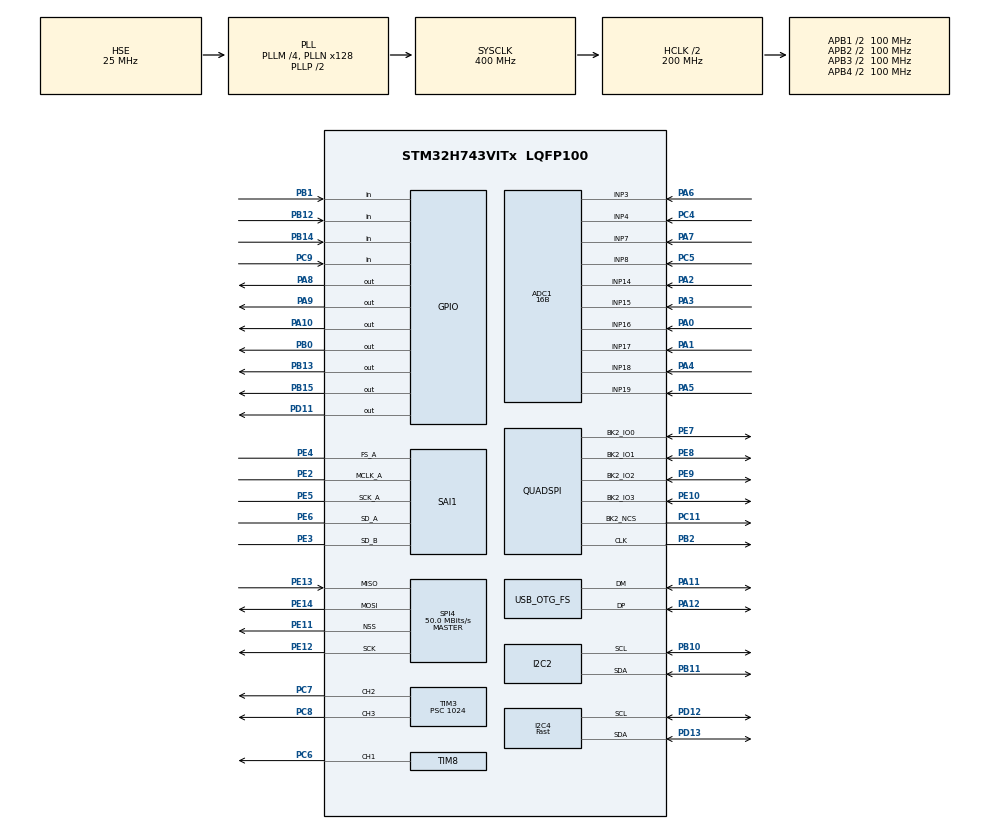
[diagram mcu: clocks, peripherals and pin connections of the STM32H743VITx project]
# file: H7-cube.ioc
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ADC1.BoostMode=ENABLE
ADC1.Channel-0\#ChannelRegularConversion=ADC_CHANNEL_16
ADC1.Channel-1\#ChannelRegularConversion=ADC_CHANNEL_17
ADC1.Channel-2\#ChannelRegularConversion=ADC_CHANNEL_18
ADC1.Channel-3\#ChannelRegularConversion=ADC_CHANNEL_3
ADC1.Channel-4\#ChannelRegularConversion=ADC_CHANNEL_4
ADC1.ClockPrescaler=ADC_CLOCK_ASYNC_DIV2
ADC1.ContinuousConvMode=ENABLE
ADC1.ConversionDataManagement=ADC_CONVERSIONDATA_DMA_CIRCULAR
ADC1.DMAContinuousRequests=ENABLE
ADC1.DiscontinuousConvMode=DISABLE
ADC1.EOCSelection=ADC_EOC_SINGLE_CONV
ADC1.EnableAnalogWatchDog1=false
ADC1.EnableAnalogWatchDog2=false
ADC1.EnableAnalogWatchDog3=false
ADC1.EnableInjectedConversion=DISABLE
ADC1.EnableRegularConversion=ENABLE
ADC1.ExternalTrigConv=ADC_SOFTWARE_START
ADC1.ExternalTrigConvEdge=ADC_EXTERNALTRIGCONVEDGE_NONE
ADC1.LeftBitShift=ADC_LEFTBITSHIFT_NONE
ADC1.LowPowerAutoWait=DISABLE
ADC1.NbrOfConversion=5
ADC1.NbrOfConversionFlag=1
ADC1.OffsetNumber-0\#ChannelRegularConversion=ADC_OFFSET_NONE
ADC1.OffsetNumber-1\#ChannelRegularConversion=ADC_OFFSET_NONE
ADC1.OffsetNumber-2\#ChannelRegularConversion=ADC_OFFSET_NONE
ADC1.OffsetNumber-3\#ChannelRegularConversion=ADC_OFFSET_NONE
ADC1.OffsetNumber-4\#ChannelRegularConversion=ADC_OFFSET_NONE
ADC1.Overrun=ADC_OVR_DATA_PRESERVED
ADC1.OversamplingMode=DISABLE
ADC1.Rank-0\#ChannelRegularConversion=1
ADC1.Rank-1\#ChannelRegularConversion=2
ADC1.Rank-2\#ChannelRegularConversion=3
ADC1.Rank-3\#ChannelRegularConversion=4
ADC1.Rank-4\#ChannelRegularConversion=5
ADC1.Resolution=ADC_RESOLUTION_16B
ADC1.SamplingTime-0\#ChannelRegularConversion=ADC_SAMPLETIME_387CYCLES_5
ADC1.SamplingTime-1\#ChannelRegularConversion=ADC_SAMPLETIME_387CYCLES_5
ADC1.SamplingTime-2\#ChannelRegularConversion=ADC_SAMPLETIME_387CYCLES_5
ADC1.SamplingTime-3\#ChannelRegularConversion=ADC_SAMPLETIME_387CYCLES_5
ADC1.SamplingTime-4\#ChannelRegularConversion=ADC_SAMPLETIME_387CYCLES_5
ADC1.ScanConvMode=ADC_SCAN_ENABLE
ADC1.master=1
Bdma.I2C4_RX.0.Direction=DMA_PERIPH_TO_MEMORY
Bdma.I2C4_RX.0.EventEnable=DISABLE
Bdma.I2C4_RX.0.Instance=BDMA_Channel0
Bdma.I2C4_RX.0.MemDataAlignment=DMA_MDATAALIGN_BYTE
Bdma.I2C4_RX.0.MemInc=DMA_MINC_ENABLE
Bdma.I2C4_RX.0.Mode=DMA_NORMAL
Bdma.I2C4_RX.0.PeriphDataAlignment=DMA_PDATAALIGN_BYTE
Bdma.I2C4_RX.0.PeriphInc=DMA_PINC_DISABLE
Bdma.I2C4_RX.0.Polarity=HAL_DMAMUX_REQ_GEN_RISING
Bdma.I2C4_RX.0.Priority=DMA_PRIORITY_LOW
Bdma.I2C4_RX.0.RequestNumber=1
Bdma.I2C4_RX.0.SignalID=HAL_DMAMUX2_REQ_GEN_I2C4_WKUP
Bdma.I2C4_RX.0.SyncEnable=DISABLE
Bdma.I2C4_RX.0.SyncPolarity=HAL_DMAMUX_SYNC_NO_EVENT
Bdma.I2C4_RX.0.SyncRequestNumber=1
Bdma.I2C4_RX.0.SyncSignalID=HAL_DMAMUX2_SYNC_I2C4_WKUP
Bdma.I2C4_TX.1.Direction=DMA_MEMORY_TO_PERIPH
Bdma.I2C4_TX.1.EventEnable=DISABLE
Bdma.I2C4_TX.1.Instance=BDMA_Channel1
Bdma.I2C4_TX.1.MemDataAlignment=DMA_MDATAALIGN_BYTE
Bdma.I2C4_TX.1.MemInc=DMA_MINC_ENABLE
Bdma.I2C4_TX.1.Mode=DMA_NORMAL
Bdma.I2C4_TX.1.PeriphDataAlignment=DMA_PDATAALIGN_BYTE
Bdma.I2C4_TX.1.PeriphInc=DMA_PINC_DISABLE
Bdma.I2C4_TX.1.Polarity=HAL_DMAMUX_REQ_GEN_RISING
Bdma.I2C4_TX.1.Priority=DMA_PRIORITY_LOW
Bdma.I2C4_TX.1.RequestNumber=1
Bdma.I2C4_TX.1.SignalID=HAL_DMAMUX2_REQ_GEN_I2C4_WKUP
Bdma.I2C4_TX.1.SyncEnable=DISABLE
Bdma.I2C4_TX.1.SyncPolarity=HAL_DMAMUX_SYNC_NO_EVENT
Bdma.I2C4_TX.1.SyncRequestNumber=1
Bdma.I2C4_TX.1.SyncSignalID=HAL_DMAMUX2_SYNC_I2C4_WKUP
Bdma.Request0=I2C4_RX
Bdma.Request1=I2C4_TX
Bdma.RequestsNb=2
CORTEX_M7.CPU_DCache=Enabled
CORTEX_M7.CPU_ICache=Enabled
Dma.ADC1.0.Direction=DMA_PERIPH_TO_MEMORY
Dma.ADC1.0.EventEnable=DISABLE
Dma.ADC1.0.FIFOMode=DMA_FIFOMODE_ENABLE
Dma.ADC1.0.FIFOThreshold=DMA_FIFO_THRESHOLD_FULL
Dma.ADC1.0.Instance=DMA1_Stream2
Dma.ADC1.0.MemBurst=DMA_MBURST_SINGLE
Dma.ADC1.0.MemDataAlignment=DMA_MDATAALIGN_HALFWORD
Dma.ADC1.0.MemInc=DMA_MINC_ENABLE
Dma.ADC1.0.Mode=DMA_CIRCULAR
Dma.ADC1.0.PeriphBurst=DMA_PBURST_SINGLE
Dma.ADC1.0.PeriphDataAlignment=DMA_PDATAALIGN_HALFWORD
Dma.ADC1.0.PeriphInc=DMA_PINC_DISABLE
Dma.ADC1.0.Polarity=HAL_DMAMUX_REQ_GEN_RISING
Dma.ADC1.0.Priority=DMA_PRIORITY_MEDIUM
Dma.ADC1.0.RequestNumber=1
Dma.ADC1.0.SyncEnable=DISABLE
Dma.ADC1.0.SyncPolarity=HAL_DMAMUX_SYNC_NO_EVENT
Dma.ADC1.0.SyncRequestNumber=1
Dma.Request0=ADC1
Dma.Request1=SAI1_A
Dma.Request2=SAI1_B
Dma.SAI1_A.1.Direction=DMA_MEMORY_TO_PERIPH
Dma.SAI1_A.1.EventEnable=DISABLE
Dma.SAI1_A.1.FIFOMode=DMA_FIFOMODE_ENABLE
Dma.SAI1_A.1.FIFOThreshold=DMA_FIFO_THRESHOLD_FULL
Dma.SAI1_A.1.Instance=DMA2_Stream6
Dma.SAI1_A.1.MemBurst=DMA_MBURST_SINGLE
Dma.SAI1_A.1.MemDataAlignment=DMA_MDATAALIGN_WORD
Dma.SAI1_A.1.MemInc=DMA_MINC_ENABLE
Dma.SAI1_A.1.Mode=DMA_CIRCULAR
Dma.SAI1_A.1.PeriphBurst=DMA_PBURST_SINGLE
Dma.SAI1_A.1.PeriphDataAlignment=DMA_PDATAALIGN_WORD
Dma.SAI1_A.1.PeriphInc=DMA_PINC_DISABLE
Dma.SAI1_A.1.Polarity=HAL_DMAMUX_REQ_GEN_RISING
Dma.SAI1_A.1.Priority=DMA_PRIORITY_VERY_HIGH
Dma.SAI1_A.1.RequestNumber=1
Dma.SAI1_A.1.SyncEnable=DISABLE
Dma.SAI1_A.1.SyncPolarity=HAL_DMAMUX_SYNC_NO_EVENT
Dma.SAI1_A.1.SyncRequestNumber=1
Dma.SAI1_B.2.Direction=DMA_PERIPH_TO_MEMORY
Dma.SAI1_B.2.EventEnable=DISABLE
Dma.SAI1_B.2.FIFOMode=DMA_FIFOMODE_ENABLE
Dma.SAI1_B.2.FIFOThreshold=DMA_FIFO_THRESHOLD_FULL
Dma.SAI1_B.2.Instance=DMA2_Stream7
Dma.SAI1_B.2.MemBurst=DMA_MBURST_SINGLE
Dma.SAI1_B.2.MemDataAlignment=DMA_MDATAALIGN_WORD
Dma.SAI1_B.2.MemInc=DMA_MINC_ENABLE
Dma.SAI1_B.2.Mode=DMA_CIRCULAR
Dma.SAI1_B.2.PeriphBurst=DMA_PBURST_SINGLE
Dma.SAI1_B.2.PeriphDataAlignment=DMA_PDATAALIGN_WORD
Dma.SAI1_B.2.PeriphInc=DMA_PINC_DISABLE
Dma.SAI1_B.2.Polarity=HAL_DMAMUX_REQ_GEN_RISING
Dma.SAI1_B.2.Priority=DMA_PRIORITY_VERY_HIGH
Dma.SAI1_B.2.RequestNumber=1
Dma.SAI1_B.2.SyncEnable=DISABLE
Dma.SAI1_B.2.SyncPolarity=HAL_DMAMUX_SYNC_NO_EVENT
Dma.SAI1_B.2.SyncRequestNumber=1
I2C2.Timing=0x10C0ECFF
I2C4.I2C_Speed_Mode=I2C_Fast
I2C4.Timing=0x009034B6
Mcu.Family=STM32H7
Mcu.Name=STM32H743VITx
Mcu.Package=LQFP100
NVIC.BDMA_Channel0_IRQn=true\:0\:0\:false\:false\:true\:false
NVIC.BDMA_Channel1_IRQn=true\:0\:0\:false\:false\:true\:false
NVIC.DMA1_Stream2_IRQn=true\:5\:0\:true\:false\:true\:false
NVIC.DMA2_Stream6_IRQn=true\:2\:0\:true\:false\:true\:false
NVIC.DMA2_Stream7_IRQn=true\:2\:0\:true\:false\:true\:false
NVIC.I2C4_ER_IRQn=true\:6\:0\:true\:false\:true\:true
NVIC.I2C4_EV_IRQn=true\:6\:0\:true\:false\:true\:true
NVIC.OTG_FS_EP1_IN_IRQn=true\:6\:0\:true\:false\:true\:true
NVIC.OTG_FS_EP1_OUT_IRQn=true\:6\:0\:true\:false\:true\:true
NVIC.OTG_FS_IRQn=true\:6\:0\:true\:false\:true\:true
NVIC.PriorityGroup=NVIC_PRIORITYGROUP_4
PA0-WKUP.Mode=IN16-Single-Ended
PA0-WKUP.Signal=ADC1_INP16
PA1.Mode=IN17-Single-Ended
PA1.Signal=ADC1_INP17
PA10.Signal=GPIO_Output
PA11.GPIO_Speed=GPIO_SPEED_FREQ_VERY_HIGH
PA11.Mode=Host_Only
PA11.Signal=USB_OTG_FS_DM
PA12.GPIO_Speed=GPIO_SPEED_FREQ_VERY_HIGH
PA12.Mode=Host_Only
PA12.Signal=USB_OTG_FS_DP
PA13.Mode=Trace_Asynchronous_SW
PA13.Signal=SYS_JTMS-SWDIO
PA14.Mode=Trace_Asynchronous_SW
PA14.Signal=SYS_JTCK-SWCLK
PA2.Signal=ADCx_INP14
PA3.Signal=ADCx_INP15
PA4.Signal=ADCx_INP18
PA5.Signal=ADCx_INP19
PA6.Signal=ADCx_INP3
PA7.Signal=ADCx_INP7
PA8.Signal=GPIO_Output
PA9.GPIO_PuPd=GPIO_PULLUP
PA9.GPIO_Speed=GPIO_SPEED_FREQ_MEDIUM
PA9.Signal=GPIO_Output
PB0.Signal=GPIO_Output
PB1.GPIO_PuPd=GPIO_PULLUP
PB1.Signal=GPIO_Input
PB10.GPIO_Speed=GPIO_SPEED_FREQ_MEDIUM
PB10.Mode=I2C
PB10.Signal=I2C2_SCL
PB11.GPIO_Speed=GPIO_SPEED_FREQ_MEDIUM
PB11.Mode=I2C
PB11.Signal=I2C2_SDA
PB12.GPIO_PuPd=GPIO_PULLUP
PB12.Signal=GPIO_Input
PB13.Signal=GPIO_Output
PB14.GPIO_PuPd=GPIO_PULLUP
PB14.Signal=GPIO_Input
PB15.Signal=GPIO_Output
PB2.GPIO_Speed=GPIO_SPEED_FREQ_HIGH
PB2.Mode=Single Bank 2
PB2.Signal=QUADSPI_CLK
PB3.Mode=Trace_Asynchronous_SW
PB3.Signal=SYS_JTDO-SWO
PC11.GPIO_Speed=GPIO_SPEED_FREQ_HIGH
PC11.Mode=Single Bank 2
PC11.Signal=QUADSPI_BK2_NCS
PC4.Signal=ADCx_INP4
PC5.Signal=ADCx_INP8
PC6.GPIO_Speed=GPIO_SPEED_FREQ_HIGH
PC6.Signal=S_TIM8_CH1
PC7.GPIO_Speed=GPIO_SPEED_FREQ_HIGH
PC7.Signal=S_TIM3_CH2
PC8.GPIO_Speed=GPIO_SPEED_FREQ_HIGH
PC8.Signal=S_TIM3_CH3
PC9.GPIO_PuPd=GPIO_PULLUP
PC9.Signal=GPIO_Input
PD11.Signal=GPIO_Output
PD12.GPIO_Speed=GPIO_SPEED_FREQ_MEDIUM
PD12.Mode=I2C
PD12.Signal=I2C4_SCL
PD13.GPIO_Speed=GPIO_SPEED_FREQ_MEDIUM
PD13.Mode=I2C
PD13.Signal=I2C4_SDA
PE10.GPIO_Speed=GPIO_SPEED_FREQ_HIGH
PE10.Mode=Single Bank 2
PE10.Signal=QUADSPI_BK2_IO3
PE11.GPIO_Speed=GPIO_SPEED_FREQ_HIGH
PE11.Mode=NSS_Signal_Hard_Output
PE11.Signal=SPI4_NSS
PE12.GPIO_Speed=GPIO_SPEED_FREQ_HIGH
PE12.Mode=Full_Duplex_Master
PE12.Signal=SPI4_SCK
PE13.GPIO_Speed=GPIO_SPEED_FREQ_HIGH
PE13.Mode=Full_Duplex_Master
PE13.Signal=SPI4_MISO
PE14.GPIO_Speed=GPIO_SPEED_FREQ_HIGH
PE14.Mode=Full_Duplex_Master
PE14.Signal=SPI4_MOSI
PE2.GPIO_Speed=GPIO_SPEED_FREQ_VERY_HIGH
PE2.Mode=SAI_A_MasterWithClock
PE2.Signal=SAI1_MCLK_A
PE3.GPIO_Speed=GPIO_SPEED_FREQ_VERY_HIGH
PE3.Mode=SAI_B_SyncSlave
PE3.Signal=SAI1_SD_B
PE4.GPIO_Speed=GPIO_SPEED_FREQ_VERY_HIGH
PE4.Mode=SAI_A_MasterWithClock
PE4.Signal=SAI1_FS_A
PE5.GPIO_Speed=GPIO_SPEED_FREQ_VERY_HIGH
PE5.Mode=SAI_A_MasterWithClock
PE5.Signal=SAI1_SCK_A
PE6.GPIO_Speed=GPIO_SPEED_FREQ_VERY_HIGH
PE6.Mode=SAI_A_MasterWithClock
PE6.Signal=SAI1_SD_A
PE7.GPIO_Speed=GPIO_SPEED_FREQ_HIGH
PE7.Mode=Single Bank 2
PE7.Signal=QUADSPI_BK2_IO0
PE8.GPIO_Speed=GPIO_SPEED_FREQ_HIGH
PE8.Mode=Single Bank 2
PE8.Signal=QUADSPI_BK2_IO1
PE9.GPIO_Speed=GPIO_SPEED_FREQ_HIGH
PE9.Mode=Single Bank 2
PE9.Signal=QUADSPI_BK2_IO2
PH0-OSC_IN.Mode=HSE-External-Oscillator
PH0-OSC_IN.Signal=RCC_OSC_IN
PH1-OSC_OUT.Mode=HSE-External-Oscillator
PH1-OSC_OUT.Signal=RCC_OSC_OUT
ProjectManager.HeapSize=0x400
ProjectManager.StackSize=0x800
ProjectManager.TargetToolchain=SW4STM32
RCC.ADCCLockSelection=RCC_ADCCLKSOURCE_CLKP
RCC.ADCFreq_Value=64000000
RCC.APB1Freq_Value=100000000
RCC.APB2Freq_Value=100000000
RCC.APB3Freq_Value=100000000
RCC.APB4Freq_Value=100000000
RCC.CortexFreq_Value=400000000
RCC.D1PPRE=RCC_APB3_DIV2
RCC.D2PPRE1=RCC_APB1_DIV2
RCC.D2PPRE2=RCC_APB2_DIV2
RCC.D3PPRE=RCC_APB4_DIV2
RCC.DIVM1=4
RCC.DIVM2=25
RCC.DIVM3=25
RCC.DIVN1=128
RCC.DIVN2=344
RCC.DIVN3=192
RCC.DIVP2=7
RCC.DIVP3=4
RCC.DIVQ3=4
RCC.HCLKFreq_Value=200000000
RCC.HPRE=RCC_HCLK_DIV2
RCC.PLLSourceVirtual=RCC_PLLSOURCE_HSE
RCC.SAI1CLockSelection=RCC_SAI1CLKSOURCE_PLL2
RCC.SYSCLKFreq_VALUE=400000000
RCC.SYSCLKSource=RCC_SYSCLKSOURCE_PLLCLK
RCC.USBCLockSelection=RCC_USBCLKSOURCE_PLL3
RCC.USBFreq_Value=48000000
SAI1.AudioFrequency-SAI_A_MasterWithClock=SAI_AUDIO_FREQUENCY_48K
SAI1.BasicDataSize-SAI_A_MasterWithClock=SAI_PROTOCOL_DATASIZE_32BIT
SAI1.BasicDataSize-SAI_B_SyncSlave=SAI_PROTOCOL_DATASIZE_32BIT
SAI1.ErrorAudioFreq-SAI_A_MasterWithClock=-0.01 %
SAI1.FIFOThreshold-SAI_A_MasterWithClock=SAI_FIFOTHRESHOLD_FULL
SAI1.FIFOThreshold-SAI_B_SyncSlave=SAI_FIFOTHRESHOLD_FULL
SAI1.InitProtocol-SAI_A_MasterWithClock=Enable
SAI1.InitProtocol-SAI_B_SyncSlave=Enable
SAI1.Instance-SAI_A_MasterWithClock=SAI$Index_Block_A
SAI1.Instance-SAI_B_SyncSlave=SAI$Index_Block_B
SAI1.MClockEnable=SAI_MASTERCLOCK_ENABLE
SAI1.RealAudioFreq-SAI_A_MasterWithClock=47.991 KHz
SAI1.Synchro-SAI_A_MasterWithClock=SAI_ASYNCHRONOUS
SAI1.Synchro-SAI_B_SyncSlave=SAI_SYNCHRONOUS
SAI1.VirtualMode-SAI_A_MasterWithClock=VM_MASTER
SAI1.VirtualMode-SAI_B_SyncSlave=VM_SLAVE
SAI1.VirtualProtocol-SAI_A_BASIC=VM_BASIC_PROTOCOL
SAI1.VirtualProtocol-SAI_B_BASIC=VM_BASIC_PROTOCOL
SH.ADCx_INP14.0=ADC1_INP14,IN14-Single-Ended
SH.ADCx_INP15.0=ADC1_INP15,IN15-Single-Ended
SH.ADCx_INP18.0=ADC1_INP18,IN18-Single-Ended
SH.ADCx_INP19.0=ADC1_INP19,IN19-Single-Ended
SH.ADCx_INP3.0=ADC1_INP3,IN3-Single-Ended
SH.ADCx_INP4.0=ADC1_INP4,IN4-Single-Ended
SH.ADCx_INP7.0=ADC1_INP7,IN7-Single-Ended
SH.ADCx_INP8.0=ADC1_INP8,IN8-Single-Ended
SH.S_TIM3_CH2.0=TIM3_CH2,PWM Generation2 CH2
SH.S_TIM3_CH3.0=TIM3_CH3,PWM Generation3 CH3
SH.S_TIM8_CH1.0=TIM8_CH1,PWM Generation1 CH1
SPI4.BaudRatePrescaler=SPI_BAUDRATEPRESCALER_2
SPI4.CalculateBaudRate=50.0 MBits/s
SPI4.Direction=SPI_DIRECTION_2LINES
SPI4.Mode=SPI_MODE_MASTER
SPI4.VirtualNSS=VM_NSSHARD
SPI4.VirtualType=VM_MASTER
TIM3.Channel-PWM\ Generation2\ CH2=TIM_CHANNEL_2
TIM3.Channel-PWM\ Generation3\ CH3=TIM_CHANNEL_3
TIM3.ClockDivision=TIM_CLOCKDIVISION_DIV4
TIM3.OCFastMode_PWM-PWM\ Generation2\ CH2=TIM_OCFAST_ENABLE
TIM3.OCFastMode_PWM-PWM\ Generation3\ CH3=TIM_OCFAST_ENABLE
TIM3.Period=1024
TIM3.Prescaler=1024
TIM3.Pulse-PWM\ Generation2\ CH2=33512
TIM3.Pulse-PWM\ Generation3\ CH3=33512
TIM8.Channel-PWM\ Generation1\ CH1=TIM_CHANNEL_1
TIM8.ClockDivision=TIM_CLOCKDIVISION_DIV4
TIM8.OCFastMode_PWM-PWM\ Generation1\ CH1=TIM_OCFAST_ENABLE
TIM8.Period=1024
TIM8.Prescaler=1024
TIM8.Pulse-PWM\ Generation1\ CH1=33256
USB_HOST.USBH_HandleTypeDef-AUDIO_FS=hUsbHostFS
USB_HOST.VirtualModeFS=Audio
USB_OTG_FS.Sof_enable=DISABLE
USB_OTG_FS.VirtualMode=Host_Only
USB_OTG_FS.dma_enable=ENABLE
USB_OTG_FS.phy_itface=HCD_PHY_EMBEDDED
VP_RNG_VS_RNG.Mode=RNG_Activate
VP_SAI1_VP_$IpInstance_SAIA_SAI_BASIC.Mode=SAI_A_BASIC
VP_SAI1_VP_$IpInstance_SAIB_SAI_BASIC.Mode=SAI_B_BASIC
VP_TIM3_VS_ClockSourceINT.Mode=Internal
VP_USB_HOST_VS_USB_HOST_AUDIO_FS.Mode=AUDIO_FS
board=H7-cube

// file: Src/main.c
/**
  ******************************************************************************
  * @file           : main.c
  * @brief          : Main program body
  ******************************************************************************
  * This notice applies to any and all portions of this file
  * that are not between comment pairs USER CODE BEGIN and
  * USER CODE END. Other portions of this file, whether
  * inserted by the user or by software development tools
  * are owned by their respective copyright owners.
  *
  * Copyright (c) 2018 STMicroelectronics International N.V.
  * All rights reserved.
  *
  * Redistribution and use in source and binary forms, with or without
  * modification, are permitted, provided that the following conditions are met:
  *
  * 1. Redistribution of source code must retain the above copyright notice,
  *    this list of conditions and the following disclaimer.
  * 2. Redistributions in binary form must reproduce the above copyright notice,
  *    this list of conditions and the following disclaimer in the documentation
  *    and/or other materials provided with the distribution.
  * 3. Neither the name of STMicroelectronics nor the names of other
  *    contributors to this software may be used to endorse or promote products
  *    derived from this software without specific written permission.
  * 4. This software, including modifications and/or derivative works of this
  *    software, must execute solely and exclusively on microcontroller or
  *    microprocessor devices manufactured by or for STMicroelectronics.
  * 5. Redistribution and use of this software other than as permitted under
  *    this license is void and will automatically terminate your rights under
  *    this license.
  *
  * THIS SOFTWARE IS PROVIDED BY STMICROELECTRONICS AND CONTRIBUTORS "AS IS"
  * AND ANY EXPRESS, IMPLIED OR STATUTORY WARRANTIES, INCLUDING, BUT NOT
  * LIMITED TO, THE IMPLIED WARRANTIES OF MERCHANTABILITY, FITNESS FOR A
  * PARTICULAR PURPOSE AND NON-INFRINGEMENT OF THIRD PARTY INTELLECTUAL PROPERTY
  * RIGHTS ARE DISCLAIMED TO THE FULLEST EXTENT PERMITTED BY LAW. IN NO EVENT
  * SHALL STMICROELECTRONICS OR CONTRIBUTORS BE LIABLE FOR ANY DIRECT, INDIRECT,
  * INCIDENTAL, SPECIAL, EXEMPLARY, OR CONSEQUENTIAL DAMAGES (INCLUDING, BUT NOT
  * LIMITED TO, PROCUREMENT OF SUBSTITUTE GOODS OR SERVICES; LOSS OF USE, DATA,
  * OR PROFITS; OR BUSINESS INTERRUPTION) HOWEVER CAUSED AND ON ANY THEORY OF
  * LIABILITY, WHETHER IN CONTRACT, STRICT LIABILITY, OR TORT (INCLUDING
  * NEGLIGENCE OR OTHERWISE) ARISING IN ANY WAY OUT OF THE USE OF THIS SOFTWARE,
  * EVEN IF ADVISED OF THE POSSIBILITY OF SUCH DAMAGE.
  *
  ******************************************************************************
  */
#include "main.h"
#include "stm32h7xx_hal.h"
#include "adc.h"
#include "bdma.h"
#include "dma.h"
#include "i2c.h"
#include "quadspi.h"
#include "rng.h"
#include "sai.h"
#include "spi.h"
#include "tim.h"
#include "usb_host.h"
#include "gpio.h"

/* USER CODE BEGIN Includes */
#include "audiostream.h"
#include "ssd1306.h"
#include "oled.h"
#include "custom_fonts.h"
#include "gfx.h"
#include "ui.h"
#include "sfx.h"

// FOR BEST SPEED
// set -O2 optimization flag for GCC and add these flags -finline-functions -funswitch-loops -fpredictive-commoning -fgcse-after-reload -ftree-loop-vectorize -ftree-loop-distribution -floop-interchange -floop-unroll-and-jam -fsplit-paths -fvect-cost-model -ftree-partial-pre -fpeel-loops -ffast-math -fsingle-precision-constant

// the -ftree-slp-vectorize breaks something - MIDI, likely
// -O3 with -fno-tree-slp-vectorize should work but for some reason it isn't as good. Maybe the specific gcc version for ARM omits some of those optimization flags from -O3?

/* USER CODE END Includes */

/* USER CODE BEGIN PV */
/* Private variables ---------------------------------------------------------*/

//register unsigned int apsr __asm("cpacr");

//FPU->CPACR |= (1<<24);

//#define SAMPLERATE96K

#define NUM_ADC_CHANNELS 5
uint16_t myADC[NUM_ADC_CHANNELS] __ATTR_RAM_D2;

uint32_t counter = 0;
int pinValue = 0;

uint8_t ball[]  = {0x00, 0x3C, 0x7E, 0x7E, 0x7E, 0x7E, 0x3C, 0x00};
static unsigned char testblock[] = {0x00, 0x7C, 0x7E, 0x0B, 0x0B, 0x7E, 0x7C, 0x00};

/* USER CODE END PV */

void SystemClock_Config(void);
void MX_USB_HOST_Process(void);

/* USER CODE BEGIN PFP */
/* Private function prototypes -----------------------------------------------*/
void MPU_Conf(void);
/* USER CODE END PFP */

int main(void)
{
  /* USER CODE BEGIN 1 */
  MPU_Conf();

  SystemInit();
  /* USER CODE END 1 */

  /* Enable I-Cache-------------------------------------------------------------*/
  SCB_EnableICache();

  /* Enable D-Cache-------------------------------------------------------------*/
  SCB_EnableDCache();

  /* MCU Configuration----------------------------------------------------------*/

  /* Reset of all peripherals, Initializes the Flash interface and the Systick. */
  HAL_Init();

  /* Configure the system clock */
  SystemClock_Config();

  /* Initialize all configured peripherals */
  MX_GPIO_Init();
  MX_BDMA_Init();
  MX_DMA_Init();
  MX_ADC1_Init();
  MX_I2C2_Init();
  MX_QUADSPI_Init();
  MX_RNG_Init();
  MX_SAI1_Init();
  MX_SPI4_Init();
  MX_I2C4_Init();
  //MX_USB_HOST_Init();
  MX_TIM3_Init();
  MX_TIM8_Init();
  /* USER CODE BEGIN 2 */

  /// when rebuilding from CubeMX, make sure to comment out original call to MX_USB_HOST_Init() so that this delayed version can happen later. That way the LEDs are initialized and the powersupply is stable.

  //LED initialization
	HAL_TIM_PWM_Start(&htim3, TIM_CHANNEL_2);
	HAL_TIM_PWM_Start(&htim3, TIM_CHANNEL_3);
	HAL_TIM_PWM_Start(&htim8, TIM_CHANNEL_1);

  HAL_GPIO_WritePin(GPIOD, GPIO_PIN_11, GPIO_PIN_SET); //led amber  This one is still controlled via GPIO (unfortunately the pin it's connected to is not dimmable via PWM). SET is on, RESET if off.

  //These LEDs are now dimmable (not the amber, though). Call these functions with 0 for off and some number between 1-65535 for different brightnesses. Anything above 500 is actually basically way too bright. 100 is good.
  // include tim.h anywhere you need to call these functions so that the file knows about the htim handlers.

  __HAL_TIM_SET_COMPARE(&htim3, TIM_CHANNEL_2, 0); //bottom green
  __HAL_TIM_SET_COMPARE(&htim3, TIM_CHANNEL_3, 0); //led4 top red
  __HAL_TIM_SET_COMPARE(&htim8, TIM_CHANNEL_1, 0); //top green

  HAL_Delay(50);

  //now try starting up the USB

  MX_USB_HOST_Init();

  //start up that OLED display
  ssd1306_begin(&hi2c4, SSD1306_SWITCHCAPVCC, SSD1306_I2C_ADDRESS);

  HAL_Delay(5);

  //clear the OLED display buffer
  for (int i = 0; i < 512; i++)
  {
	  buffer[i] = 0;
  }

  //display the blank buffer on the OLED
  ssd1306_display_full_buffer();

  //initialize the graphics library that lets us write things in that display buffer
  GFXinit(&theGFX, 128, 32);

  //set up the monospaced font
  GFXsetFont(&theGFX, &Monospaced_plain_18);

  GFXsetTextColor(&theGFX, 1, 0);
  GFXsetTextSize(&theGFX, 1);
  /*
  GFXfillRect(&theGFX, 0, 0, 128, 16, 0);
  GFXsetCursor(&theGFX, 0,15);
  GFXwrite(&theGFX,'P');
  GFXwrite(&theGFX,'I');
  GFXwrite(&theGFX,'T');
  GFXwrite(&theGFX,'C');
  GFXwrite(&theGFX,'H');
  GFXwrite(&theGFX,'S');
  GFXwrite(&theGFX,'H');
  GFXwrite(&theGFX,'I');
  GFXwrite(&theGFX,'F');
  GFXwrite(&theGFX,'T');
  */
  /*
  OLEDwriteString("OH NOES", 7, 0, FirstLine);
  GFXsetFont(&theGFX, &URW_Gothic_L_Book_16);
  OLEDwriteString("IT ME", 5, 0, SecondLine);
  */
  //OLEDwriteFixedFloatLine(8.463f, 4, 3, FirstLine);
  //GFXsetCursor(&theGFX, 100,16);
  //GFXwriteFastHLine(&theGFX, 0, 24,
          //128, 1);

  //GFXwrite(&theGFX,'A');
  //GFXdrawChar(&theGFX,0,0,'H', 1, 0, 2);

  ssd1306_display_full_buffer();

  //HAL_Delay(500);
  //sdd1306_invertDisplay(1);

  // this code sets the processor to treat denormal numbers (very tiny floats) as zero to improve performance.
  uint32_t tempFPURegisterVal = __get_FPSCR();
  tempFPURegisterVal = (1<<24); // set the FTZ (flush-to-zero) bit in the FPU control register
  __set_FPSCR(tempFPURegisterVal);

	if (HAL_ADC_Start_DMA(&hadc1,(uint32_t*)&myADC, NUM_ADC_CHANNELS) != HAL_OK)
	{
		Error_Handler();

	}
	audioInit(&hi2c2, &hsai_BlockA1, &hsai_BlockB1, &hrng);
	UIInit(((uint16_t*)&myADC));

  /* USER CODE END 2 */

  /* Infinite loop */
  /* USER CODE BEGIN WHILE */
  while (1)
  {
	  MX_USB_HOST_Process();

	  if (counter >= 400)
	  {
		  processKnobs();
		  knobCheck();
		  displayScreen();
		  buttonCheck(); // should happen here, not frame, or else interrupts audio processing
		  counter = 0;
	  }
	  counter++;

	  //ssd1306_display_full_buffer();
	  //buffer[counter] = (uint8_t)(randomNumber() * 255.0f);

	  //oled_putxy(counter,0,&ball);
	  //

  /* USER CODE END WHILE */
  //  MX_USB_HOST_Process();

  }

}

void SystemClock_Config(void)
{

  RCC_OscInitTypeDef RCC_OscInitStruct;
  RCC_ClkInitTypeDef RCC_ClkInitStruct;
  RCC_PeriphCLKInitTypeDef PeriphClkInitStruct;

    /**Supply configuration update enable
    */
  MODIFY_REG(PWR->CR3, PWR_CR3_SCUEN, 0);

    /**Configure the main internal regulator output voltage
    */
  __HAL_PWR_VOLTAGESCALING_CONFIG(PWR_REGULATOR_VOLTAGE_SCALE1);

  while ((PWR->D3CR & (PWR_D3CR_VOSRDY)) != PWR_D3CR_VOSRDY)
  {

  }
    /**Macro to configure the PLL clock source
    */
  __HAL_RCC_PLL_PLLSOURCE_CONFIG(RCC_PLLSOURCE_HSE);

    /**Initializes the CPU, AHB and APB busses clocks
    */
  RCC_OscInitStruct.OscillatorType = RCC_OSCILLATORTYPE_HSI48|RCC_OSCILLATORTYPE_HSI
                              |RCC_OSCILLATORTYPE_HSE;
  RCC_OscInitStruct.HSEState = RCC_HSE_ON;
  RCC_OscInitStruct.HSIState = RCC_HSI_DIV1;
  RCC_OscInitStruct.HSICalibrationValue = 16;
  RCC_OscInitStruct.HSI48State = RCC_HSI48_ON;
  RCC_OscInitStruct.PLL.PLLState = RCC_PLL_ON;
  RCC_OscInitStruct.PLL.PLLSource = RCC_PLLSOURCE_HSE;
  RCC_OscInitStruct.PLL.PLLM = 4;
  RCC_OscInitStruct.PLL.PLLN = 128;
  RCC_OscInitStruct.PLL.PLLP = 2;
  RCC_OscInitStruct.PLL.PLLQ = 2;
  RCC_OscInitStruct.PLL.PLLR = 2;
  RCC_OscInitStruct.PLL.PLLRGE = RCC_PLL1VCIRANGE_2;
  RCC_OscInitStruct.PLL.PLLVCOSEL = RCC_PLL1VCOWIDE;
  RCC_OscInitStruct.PLL.PLLFRACN = 0;
  if (HAL_RCC_OscConfig(&RCC_OscInitStruct) != HAL_OK)
  {
    _Error_Handler(__FILE__, __LINE__);
  }

    /**Initializes the CPU, AHB and APB busses clocks
    */
  RCC_ClkInitStruct.ClockType = RCC_CLOCKTYPE_HCLK|RCC_CLOCKTYPE_SYSCLK
                              |RCC_CLOCKTYPE_PCLK1|RCC_CLOCKTYPE_PCLK2
                              |RCC_CLOCKTYPE_D3PCLK1|RCC_CLOCKTYPE_D1PCLK1;
  RCC_ClkInitStruct.SYSCLKSource = RCC_SYSCLKSOURCE_PLLCLK;
  RCC_ClkInitStruct.SYSCLKDivider = RCC_SYSCLK_DIV1;
  RCC_ClkInitStruct.AHBCLKDivider = RCC_HCLK_DIV2;
  RCC_ClkInitStruct.APB3CLKDivider = RCC_APB3_DIV2;
  RCC_ClkInitStruct.APB1CLKDivider = RCC_APB1_DIV2;
  RCC_ClkInitStruct.APB2CLKDivider = RCC_APB2_DIV2;
  RCC_ClkInitStruct.APB4CLKDivider = RCC_APB4_DIV2;

  if (HAL_RCC_ClockConfig(&RCC_ClkInitStruct, FLASH_LATENCY_2) != HAL_OK)
  {
    _Error_Handler(__FILE__, __LINE__);
  }

  PeriphClkInitStruct.PeriphClockSelection = RCC_PERIPHCLK_RNG|RCC_PERIPHCLK_SPI4
                              |RCC_PERIPHCLK_SAI1|RCC_PERIPHCLK_I2C2
                              |RCC_PERIPHCLK_ADC|RCC_PERIPHCLK_I2C4
                              |RCC_PERIPHCLK_USB|RCC_PERIPHCLK_QSPI
                              |RCC_PERIPHCLK_CKPER;
  PeriphClkInitStruct.PLL2.PLL2M = 25;
  PeriphClkInitStruct.PLL2.PLL2N = 344;
  PeriphClkInitStruct.PLL2.PLL2P = 7;
  PeriphClkInitStruct.PLL2.PLL2Q = 2;
  PeriphClkInitStruct.PLL2.PLL2R = 2;
  PeriphClkInitStruct.PLL2.PLL2RGE = RCC_PLL2VCIRANGE_0;
  PeriphClkInitStruct.PLL2.PLL2VCOSEL = RCC_PLL2VCOWIDE;
  PeriphClkInitStruct.PLL2.PLL2FRACN = 0;
  PeriphClkInitStruct.PLL3.PLL3M = 25;
  PeriphClkInitStruct.PLL3.PLL3N = 192;
  PeriphClkInitStruct.PLL3.PLL3P = 4;
  PeriphClkInitStruct.PLL3.PLL3Q = 4;
  PeriphClkInitStruct.PLL3.PLL3R = 2;
  PeriphClkInitStruct.PLL3.PLL3RGE = RCC_PLL3VCIRANGE_0;
  PeriphClkInitStruct.PLL3.PLL3VCOSEL = RCC_PLL3VCOWIDE;
  PeriphClkInitStruct.PLL3.PLL3FRACN = 0;
  PeriphClkInitStruct.QspiClockSelection = RCC_QSPICLKSOURCE_D1HCLK;
  PeriphClkInitStruct.CkperClockSelection = RCC_CLKPSOURCE_HSI;
  PeriphClkInitStruct.Sai1ClockSelection = RCC_SAI1CLKSOURCE_PLL2;
  PeriphClkInitStruct.Spi45ClockSelection = RCC_SPI45CLKSOURCE_D2PCLK1;
  PeriphClkInitStruct.RngClockSelection = RCC_RNGCLKSOURCE_HSI48;
  PeriphClkInitStruct.I2c123ClockSelection = RCC_I2C123CLKSOURCE_D2PCLK1;
  PeriphClkInitStruct.UsbClockSelection = RCC_USBCLKSOURCE_PLL3;
  PeriphClkInitStruct.I2c4ClockSelection = RCC_I2C4CLKSOURCE_D3PCLK1;
  PeriphClkInitStruct.AdcClockSelection = RCC_ADCCLKSOURCE_CLKP;
  if (HAL_RCCEx_PeriphCLKConfig(&PeriphClkInitStruct) != HAL_OK)
  {
    _Error_Handler(__FILE__, __LINE__);
  }

    /**Configure the Systick interrupt time
    */
  HAL_SYSTICK_Config(SystemCoreClock/1000);

    /**Configure the Systick
    */
  HAL_SYSTICK_CLKSourceConfig(SYSTICK_CLKSOURCE_HCLK);

  /* SysTick_IRQn interrupt configuration */
  HAL_NVIC_SetPriority(SysTick_IRQn, 0, 0);
}

/* USER CODE BEGIN 4 */

// Returns random floating point value [0.0,1.0)
float randomNumber(void) {

	uint32_t rand;
	HAL_RNG_GenerateRandomNumber(&hrng, &rand);
	float num = (((float)(rand >> 16))- 32768.f) * INV_TWO_TO_15;
	return num;
}

void MPU_Conf(void)
{
	//code from Keshikan https://github.com/keshikan/STM32H7_DMA_sample
  //Thanks, Keshikan! This solves the issues with accessing the SRAM in the D2 area properly. -JS

	MPU_Region_InitTypeDef MPU_InitStruct;

	  HAL_MPU_Disable();

	  MPU_InitStruct.Enable = MPU_REGION_ENABLE;

	  //D2 Domain�SRAM1
	  MPU_InitStruct.BaseAddress = 0x30000000;
	  // Increased region size to 256k. In Keshikan's code, this was 512 bytes (that's all that application needed).
	  // Each audio buffer takes up the frame size * 8 (16 bits makes it *2 and stereo makes it *2 and double buffering makes it *2)
	  // So a buffer size for read/write of 4096 would take up 64k = 4096*8 * 2 (read and write).
	  // I increased that to 256k so that there would be room for the ADC knob inputs and other peripherals that might require DMA access (for instance the OLED screen).
	  // we have a total of 256k in SRAM1 (128k, 0x30000000-0x30020000) and SRAM2 (128k, 0x30020000-0x3004000) of D2 domain.
		// There is an SRAM3 in D2 domain as well (32k, 0x30040000-0x3004800) that is currently not mapped by the MPU (memory protection unit) controller.

	  MPU_InitStruct.Size = MPU_REGION_SIZE_256KB;

	  MPU_InitStruct.AccessPermission = MPU_REGION_FULL_ACCESS;

	  //AN4838
	  MPU_InitStruct.TypeExtField = MPU_TEX_LEVEL1;
	  MPU_InitStruct.IsCacheable = MPU_ACCESS_NOT_CACHEABLE;
	  MPU_InitStruct.IsBufferable = MPU_ACCESS_NOT_BUFFERABLE;
	  MPU_InitStruct.IsShareable = MPU_ACCESS_NOT_SHAREABLE;

	  //Shared Device
//	  MPU_InitStruct.TypeExtField = MPU_TEX_LEVEL0;
//	  MPU_InitStruct.IsCacheable = MPU_ACCESS_NOT_CACHEABLE;
//	  MPU_InitStruct.IsBufferable = MPU_ACCESS_BUFFERABLE;
//	  MPU_InitStruct.IsShareable = MPU_ACCESS_SHAREABLE;

	  MPU_InitStruct.Number = MPU_REGION_NUMBER0;

	  MPU_InitStruct.SubRegionDisable = 0x00;

	  MPU_InitStruct.DisableExec = MPU_INSTRUCTION_ACCESS_DISABLE;

	  HAL_MPU_ConfigRegion(&MPU_InitStruct);

	  //now set up D3 domain RAM

	  MPU_InitStruct.Enable = MPU_REGION_ENABLE;

	 	  //D2 Domain�SRAM1
	 	  MPU_InitStruct.BaseAddress = 0x38000000;

	 	  MPU_InitStruct.Size = MPU_REGION_SIZE_64KB;

	 	  MPU_InitStruct.AccessPermission = MPU_REGION_FULL_ACCESS;

	 	  //AN4838
	 	  MPU_InitStruct.TypeExtField = MPU_TEX_LEVEL1;
	 	  MPU_InitStruct.IsCacheable = MPU_ACCESS_CACHEABLE;
	 	  MPU_InitStruct.IsBufferable = MPU_ACCESS_BUFFERABLE;
	 	  MPU_InitStruct.IsShareable = MPU_ACCESS_SHAREABLE;

	 	  //Shared Device
	 //	  MPU_InitStruct.TypeExtField = MPU_TEX_LEVEL0;
	 //	  MPU_InitStruct.IsCacheable = MPU_ACCESS_NOT_CACHEABLE;
	 //	  MPU_InitStruct.IsBufferable = MPU_ACCESS_BUFFERABLE;
	 //	  MPU_InitStruct.IsShareable = MPU_ACCESS_SHAREABLE;

	 	  MPU_InitStruct.Number = MPU_REGION_NUMBER1;

	 	  MPU_InitStruct.SubRegionDisable = 0x00;

	 	  MPU_InitStruct.DisableExec = MPU_INSTRUCTION_ACCESS_ENABLE;

	 	  HAL_MPU_ConfigRegion(&MPU_InitStruct);

	  HAL_MPU_Enable(MPU_PRIVILEGED_DEFAULT);
}
/* USER CODE END 4 */

void _Error_Handler(char *file, int line)
{
  while(1)
  {
  }
}

/************************ (C) COPYRIGHT STMicroelectronics *****END OF FILE****/
